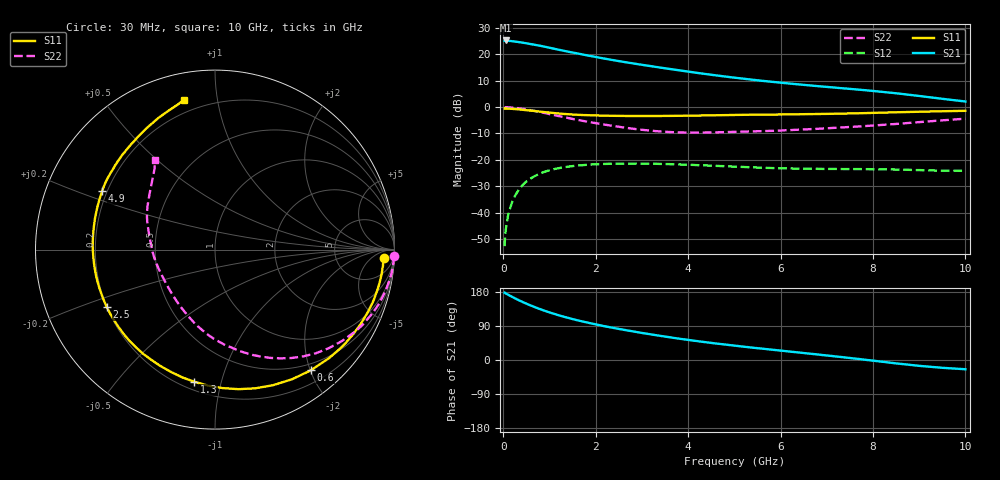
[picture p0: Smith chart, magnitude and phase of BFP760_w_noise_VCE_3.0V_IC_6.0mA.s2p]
! Infineon Technologies  Discrete & RF Semiconductors
! BFP760
! VCE =  3.0 V,  IC =  6.0 mA
! Common Emitter S-Parameters:  Nov 2012
# GHz  S  MA  R  50
!  f  S11  S21  S12  S22
! GHz  MAG  ANG  MAG  ANG  MAG  ANG  MAG  ANG
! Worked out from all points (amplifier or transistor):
!   99 points, 30 MHz to 10 GHz, reference 50 ohm
!   highest |S21| = 25.3 dB at 50 MHz (marker M1)
!   |S21| within 3 dB of that: start of sweep to 1.063 GHz
!   unconditionally stable (mu >= 1): 5.994 GHz to end of sweep
!   at 350 MHz: K = 0.09, MSG = 27.8 dB, |S12| = -31.0 dB
!   at 3.5 GHz: K = 0.53, MSG = 18.2 dB, |S12| = -21.6 dB
!   at 10 GHz: K = 1.26, MAG = 10.1 dB, |S12| = -24.2 dB
!   lowest NFmin = 0.43 dB at 900 MHz
!   S11 on the Smith chart (normalised r, x): 30 MHz: 20, -17; 600 MHz: 0.39, -2.01; 1.3 GHz: 0.25, -0.82; 2.5 GHz: 0.20, -0.24; 4.9 GHz: 0.18, +0.24; 10 GHz: 0.13, +0.80
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0.03  0.9426 -2.9  18.14 177.7  0.0023 87.8  0.9981 -2.2
0.04  0.9423 -3.7  18.17 177.2  0.0035 87.9  0.9979 -2.7
0.05  0.9395 -4.7  18.43 175.9  0.0043 83.0  0.9974 -3.2
0.12  0.9355 -11.0  18.18 171.4  0.0097 81.9  0.9919 -7.8
0.3  0.9119 -26.9  17.36 159.9  0.0241 73.9  0.9597 -18.9
0.45  0.8859 -39.5  16.56 151.4  0.0353 66.4  0.9206 -27.5
0.6  0.8586 -51.6  15.71 143.7  0.0447 59.5  0.872 -35.7
0.8  0.8216 -66.9  14.62 134.1  0.0552 51.6  0.8063 -45.7
0.9  0.8045 -73.9  14.02 129.8  0.0596 47.8  0.772 -50.4
1.1  0.7725 -87.0  12.85 121.8  0.0667 41.1  0.7069 -59.0
1.3  0.7451 -98.9  11.8 114.6  0.0719 35.4  0.6484 -66.8
1.7  0.7094 -119.9  10.05 102.1  0.079 26.4  0.5531 -80.5
2.1  0.6927 -137.3  8.623 91.4  0.083 18.8  0.4812 -93.7
2.5  0.6829 -151.9  7.486 82.1  0.0848 12.7  0.4247 -105.7
3  0.6784 -167.8  6.366 71.4  0.0847 6.5  0.3718 -120.9
3.4  0.6801 -178.9  5.633 63.7  0.0836 2.5  0.3457 -133.0
4.2  0.6927 163.5  4.468 49.8  0.0793 -3.6  0.3289 -155.1
4.9  0.7083 152.5  3.719 39.4  0.075 -6.7  0.3377 -169.2
5.1  0.7129 150.0  3.545 36.6  0.0739 -7.2  0.3416 -172.6
6.7  0.7393 133.9  2.553 15.9  0.0676 -7.5  0.3844 164.5
8.5  0.7991 113.1  1.834 -8.9  0.0655 -8.7  0.4797 139.4
10  0.8517 101.8  1.28 -24.4  0.0618 -6.3  0.6036 123.8
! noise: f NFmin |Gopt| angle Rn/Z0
0.9  0.43  0.36  26  0.11
1.8  0.51  0.31  54  0.1
2.4  0.6  0.27  76  0.09
3.5  0.77  0.22  111  0.08
5.5  0.98  0.33  -152  0.08
8  1.52  0.45  -100  0.25
